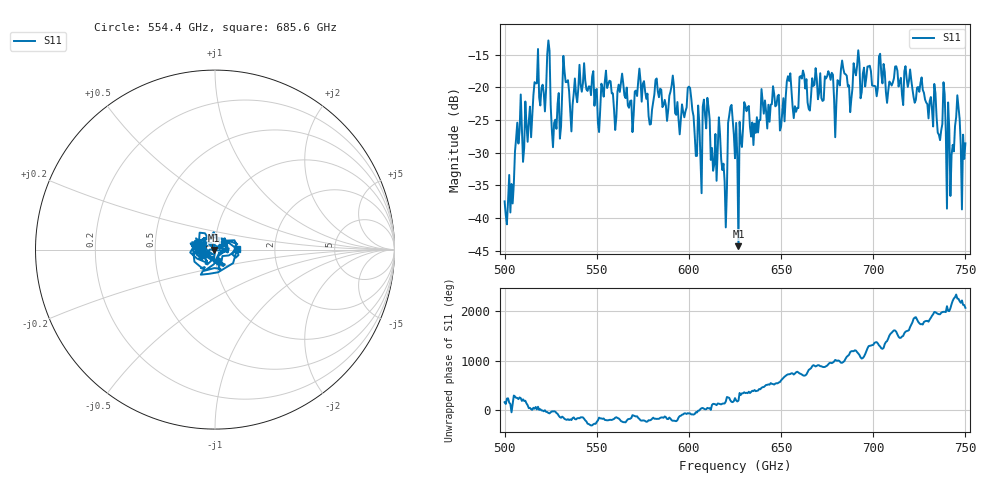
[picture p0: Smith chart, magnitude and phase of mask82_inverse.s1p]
!Created with skrf (http://scikit-rf.org).
# GHz S MA R 50.0
!freq magS11 angS11
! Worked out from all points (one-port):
!   401 points, 500 GHz to 750 GHz, reference 50 ohm
!   lowest |S11| = -44.3 dB at 626.9 GHz (marker M1), VSWR 1.01, Z = 49.4 - j0.163 ohm
!   |S11| at or under -10 dB: start of sweep to end of sweep
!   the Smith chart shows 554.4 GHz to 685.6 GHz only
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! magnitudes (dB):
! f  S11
! 500 GHz  -37.5
! 516.9 GHz  -19.4
! 523.8 GHz  -12.8
! 526.9 GHz  -25.4
! 531.2 GHz  -20.9
! 562.5 GHz  -20.7
! 579.4 GHz  -25.6
! 590.6 GHz  -19.7
! 593.8 GHz  -22.3
! 600.6 GHz  -20.1
! 605.6 GHz  -25.5
! 609.4 GHz  -26.3
! 619.4 GHz  -34.4
! 622.5 GHz  -23.0
! 625 GHz  -30.8
! 626.9 GHz  -44.3
! 631.2 GHz  -23.7
! 635 GHz  -28.8
! 656.2 GHz  -22.9
! 680 GHz  -22.4
! 683.8 GHz  -17.1
! 687.5 GHz  -23.8
! 690.6 GHz  -18.2
! 718.8 GHz  -19.9
! 738.1 GHz  -19.2
! 741.2 GHz  -26.4
! 745.6 GHz  -21.2
! 750 GHz  -28.6
